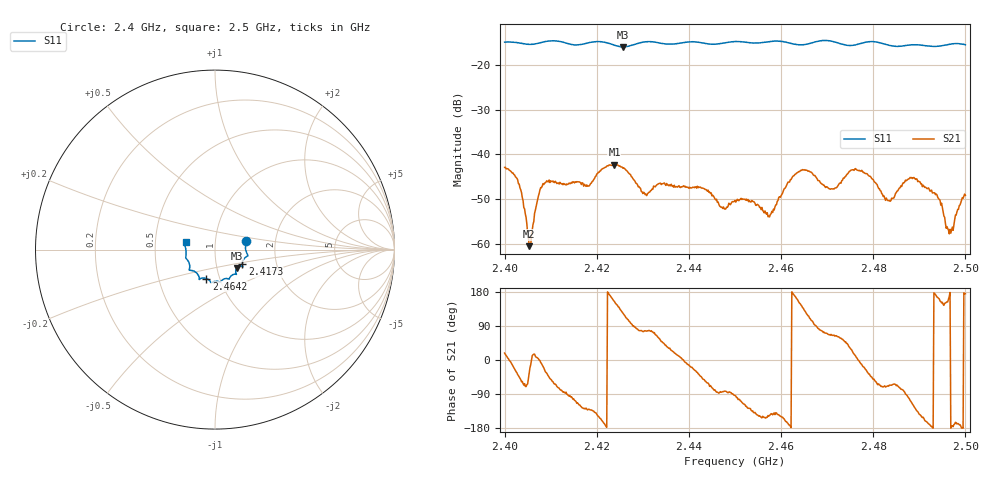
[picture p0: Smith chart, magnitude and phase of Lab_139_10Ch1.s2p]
# Hz S RI R 50
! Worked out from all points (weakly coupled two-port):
!   601 points, 2.4 GHz to 2.5 GHz, reference 50 ohm
!   highest |S21| = -42.31 dB at 2.4238 GHz (marker M1); lowest = -60.6 dB at 2.4053 GHz (marker M2)
!   lowest |S11| = -15.9 dB at 2.4257 GHz (marker M3), VSWR 1.38, Z = 62.4 - j13.1 ohm
!   |S11| at or under -10 dB: start of sweep to end of sweep
!   S12 and S22 are empty: the file has one direction only
!   S11 on the Smith chart (normalised r, x): 2.4 GHz: 1.41, +0.14; 2.4173 GHz: 1.34, -0.23; 2.4642 GHz: 0.86, -0.29; 2.5 GHz: 0.72, +0.06
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2.4e9  0.1734 0.0496  0.00677 0.00223  0 0  0 0
2.403167e9  0.1734 0.0334  0.00329 -0.00327  0 0  0 0
2.405333e9  0.17 0.00919  0.000783 -0.00051  0 0  0 0
2.408667e9  0.1806 -0.0262  0.00426 -0.00208  0 0  0 0
2.416667e9  0.153 -0.0745  -0.00255 -0.00381  0 0  0 0
2.417333e9  0.1524 -0.0818  -0.00281 -0.00365  0 0  0 0
2.423833e9  0.1378 -0.0938  -0.00693 0.00328  0 0  0 0
2.425667e9  0.1225 -0.1022  -0.00388 0.00581  0 0  0 0
2.430333e9  0.1188 -0.1368  0.000826 0.00359  0 0  0 0
2.433333e9  0.1129 -0.1369  0.00237 0.00401  0 0  0 0
2.4475e9  0.0376 -0.1719  0.000281 -0.00255  0 0  0 0
2.45e9  0.0295 -0.1807  -0.000183 -0.00304  0 0  0 0
2.457667e9  -0.0171 -0.1828  -0.00172 -0.00123  0 0  0 0
2.464167e9  -0.0483 -0.1612  -0.00555 0.00343  0 0  0 0
2.466667e9  -0.0761 -0.1597  -0.00145 0.00606  0 0  0 0
2.471e9  -0.087 -0.163  0.00168 0.00375  0 0  0 0
2.477167e9  -0.1284 -0.1166  0.00644 -0.000832  0 0  0 0
2.483333e9  -0.1407 -0.0894  0.00108 -0.00283  0 0  0 0
2.489e9  -0.1623 -0.0464  -0.00313 -0.00436  0 0  0 0
2.494e9  -0.162 -0.00126  -0.00318 0.000858  0 0  0 0
2.496833e9  -0.1698 0.0256  -0.00131 -6.69e-07  0 0  0 0
2.5e9  -0.1633 0.0419  -0.00344 0.000298  0 0  0 0
